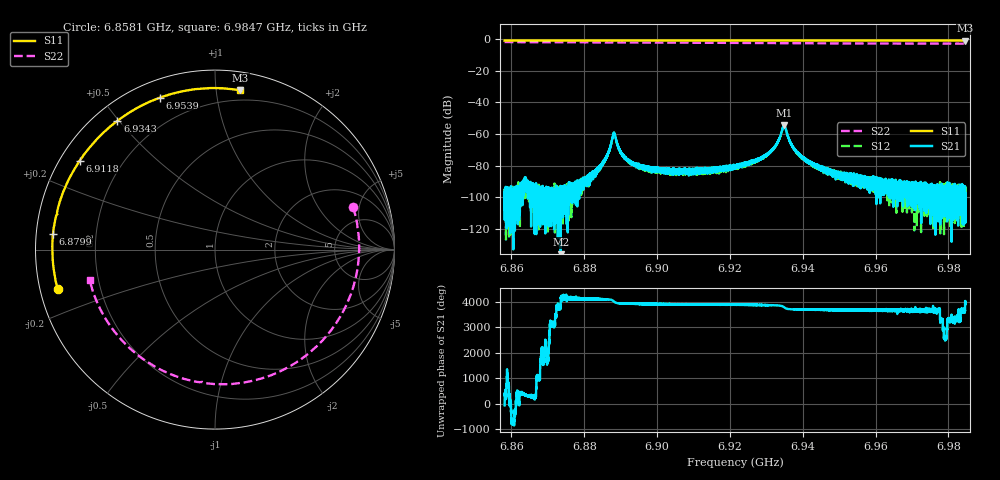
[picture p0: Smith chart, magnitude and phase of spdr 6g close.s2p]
!Agilent Technologies,N5230A,MY46401289,A.07.50.67
!Agilent N5230A: A.07.50.67
!Date: Tuesday, January 05, 2021 01:24:38
!Correction: S11(Full 2 Port(1,2))
!S21(Full 2 Port(1,2))
!S12(Full 2 Port(1,2))
!S22(Full 2 Port(1,2))
!S2P File: Measurements: S11, S21, S12, S22:
# Hz S  MA  R 50
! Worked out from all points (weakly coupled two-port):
!   16001 points, 6.8581 GHz to 6.9847 GHz, reference 50 ohm
!   highest |S21| = -54.24 dB at 6.9349 GHz (marker M1); lowest = -136.4 dB at 6.8735 GHz (marker M2)
!   lowest |S11| = -0.9 dB at 6.9846 GHz (marker M3), VSWR 18.68, Z = 6.33 + j58.2 ohm
!   |S11| at or under -10 dB: nowhere
!   |S22| runs from -2.9 to -1.9 dB; largest |S21 - S12| = 6.5e-05
!   S11 on the Smith chart (normalised r, x): 6.8581 GHz: 0.05, -0.12; 6.8799 GHz: 0.05, +0.05; 6.9118 GHz: 0.06, +0.30; 6.9343 GHz: 0.07, +0.50; 6.9539 GHz: 0.08, +0.70; 6.9847 GHz: 0.13, +1.16
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6.858127e9  0.9032 -165.9  1.008e-05 -67.4  2.4e-06 -140.7  0.8053 16.9
6.87354e9  0.9062 -179.8  1.507e-07 26.2  6.005e-06 -135.8  0.8015 -5.8
6.879218e9  0.9067 175.2  2.223e-05 149.3  2.38e-05 151.0  0.7982 -14.1
6.879906e9  0.9065 174.6  3.882e-05 167.1  3.721e-05 -176.7  0.798 -15.1
6.88484e9  0.9061 170.2  0.0001146 154.0  0.0001086 154.3  0.7946 -22.3
6.88639e9  0.9057 168.8  0.0002213 145.3  0.0002215 146.2  0.7935 -24.6
6.888185e9  0.9 167.3  0.00109 62.0  0.001058 61.9  0.7918 -27.2
6.890162e9  0.9052 165.6  0.0002526 -17.3  0.0002444 -15.0  0.7902 -30.1
6.892448e9  0.905 163.6  0.0001294 -23.5  0.000133 -26.2  0.7883 -33.4
6.900309e9  0.9034 156.7  6.989e-05 -35.7  7.762e-05 -38.5  0.7808 -44.9
6.911838e9  0.9021 146.7  7.831e-05 -54.5  6.893e-05 -56.1  0.7693 -61.8
6.921391e9  0.9007 138.4  9.842e-05 -70.0  8.161e-05 -64.8  0.7592 -75.8
6.930161e9  0.9005 130.8  0.0002323 -76.2  0.0002271 -75.2  0.7502 -88.6
6.9327e9  0.9 128.6  0.0004555 -87.4  0.0004407 -86.1  0.7475 -92.3
6.934321e9  0.9 127.1  0.001314 -118.6  0.001301 -116.3  0.7438 -94.8
6.934867e9  0.8996 126.7  0.00194 -164.1  0.00192 -162.2  0.7408 -95.4
6.937951e9  0.9002 124.0  0.0003121 112.1  0.0003053 111.1  0.7425 -99.8
6.942482e9  0.9004 120.0  0.0001184 97.0  0.0001157 99.5  0.7388 -106.4
6.953862e9  0.9005 109.8  3.594e-05 79.3  3.584e-05 86.7  0.7298 -122.8
6.963573e9  0.9005 100.9  2.472e-05 87.0  2.323e-05 65.5  0.7241 -136.7
6.98464e9  0.8984 80.9  6.553e-06 74.5  1.365e-05 70.2  0.7183 -166.5
6.984656e9  0.8986 80.9  8.382e-06 23.0  1.032e-05 24.7  0.7184 -166.6
